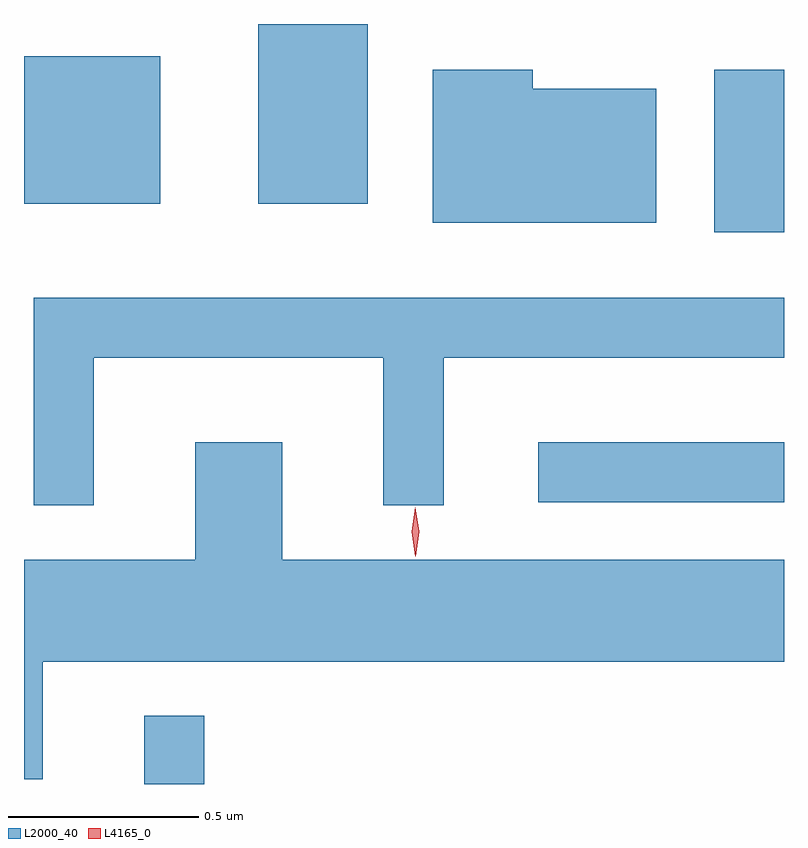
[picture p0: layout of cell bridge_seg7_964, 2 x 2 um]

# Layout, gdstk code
import gdstk
lib = gdstk.Library(unit=1e-6, precision=1e-09)
def R(c, l, rs):  # rectangles x0, y0, x1, y1
    for r in rs: c.add(gdstk.rectangle(r[:2], r[2:], *l))
def P(c, l, *ps):  # polygons
    for p in ps: c.add(gdstk.Polygon(p, *l))
L2000_40 = (2000, 40)
L4165_0 = (4165, 0)

bridge_seg7_964 = lib.new_cell('bridge_seg7_964')
R(bridge_seg7_964, L2000_40, [(521.636,1705.114,521.794,1705.293), (522.673,1705.856,523.32,1706.014), (523.136,1706.566,523.32,1706.994), (521.32,1706.641,521.679,1707.029), (521.936,1706.641,522.224,1707.114)])
P(bridge_seg7_964, L2000_40, [(522.984,1706.944),(522.659,1706.944),(522.659,1706.994),(522.396,1706.994),(522.396,1706.591),(522.984,1706.591)],
  [(521.504,1706.236),(522.266,1706.236),(522.266,1705.848),(522.424,1705.848),(522.424,1706.236),(523.32,1706.236),(523.32,1706.394),(521.346,1706.394),(521.346,1705.848),(521.504,1705.848)],
  [(521.369,1705.436),(523.32,1705.436),(523.32,1705.704),(521.999,1705.704),(521.999,1706.014),(521.771,1706.014),(521.771,1705.704),(521.32,1705.704),(521.32,1705.126),(521.369,1705.126)])
P(bridge_seg7_964, L4165_0, [(522.35,1705.713),(522.35,1705.713),(522.34,1705.778),(522.35,1705.842),(522.35,1705.842),(522.35,1705.842),(522.36,1705.778),(522.351,1705.713)])

lib.write_gds('bridge_seg7_964.gds')
